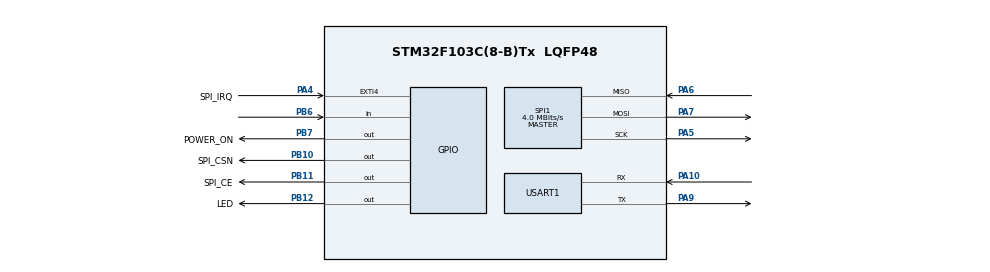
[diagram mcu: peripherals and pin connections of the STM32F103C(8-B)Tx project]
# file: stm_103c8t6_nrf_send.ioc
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Mcu.Family=STM32F1
Mcu.Name=STM32F103C(8-B)Tx
Mcu.Package=LQFP48
NVIC.PriorityGroup=NVIC_PRIORITYGROUP_4
NVIC.SPI1_IRQn=true\:0\:0\:false\:false\:true\:true\:true
NVIC.USART1_IRQn=true\:0\:0\:false\:false\:true\:true\:true
PA10.Mode=Asynchronous
PA10.Signal=USART1_RX
PA13.Mode=Serial_Wire
PA13.Signal=SYS_JTMS-SWDIO
PA14.Mode=Serial_Wire
PA14.Signal=SYS_JTCK-SWCLK
PA4.GPIO_Label=SPI_IRQ
PA4.GPIO_PuPd=GPIO_PULLUP
PA4.Signal=GPXTI4
PA5.Mode=Full_Duplex_Master
PA5.Signal=SPI1_SCK
PA6.Mode=Full_Duplex_Master
PA6.Signal=SPI1_MISO
PA7.Mode=Full_Duplex_Master
PA7.Signal=SPI1_MOSI
PA9.Mode=Asynchronous
PA9.Signal=USART1_TX
PB10.GPIO_Label=SPI_CSN
PB10.Signal=GPIO_Output
PB11.GPIO_Label=SPI_CE
PB11.Signal=GPIO_Output
PB12.GPIO_Label=LED
PB12.Signal=GPIO_Output
PB6.Signal=GPIO_Input
PB7.GPIO_Label=POWER_ON
PB7.Signal=GPIO_Output
ProjectManager.HeapSize=0x200
ProjectManager.StackSize=0x400
ProjectManager.TargetToolchain=STM32CubeIDE
RCC.APB1Freq_Value=8000000
RCC.APB2Freq_Value=8000000
SPI1.BaudRatePrescaler=SPI_BAUDRATEPRESCALER_2
SPI1.CLKPolarity=SPI_POLARITY_LOW
SPI1.CalculateBaudRate=4.0 MBits/s
SPI1.Direction=SPI_DIRECTION_2LINES
SPI1.Mode=SPI_MODE_MASTER
SPI1.VirtualType=VM_MASTER
USART1.VirtualMode=VM_ASYNC
board=custom

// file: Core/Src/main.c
/* USER CODE BEGIN Header */
/**
  ******************************************************************************
  * @file           : main.c
  * @brief          : Main program body
  ******************************************************************************
  * @attention
  *
  * <h2><center>&copy; Copyright (c) 2020 STMicroelectronics.
  * All rights reserved.</center></h2>
  *
  * This software component is licensed by ST under BSD 3-Clause license,
  * the "License"; You may not use this file except in compliance with the
  * License. You may obtain a copy of the License at:
  *                        opensource.org/licenses/BSD-3-Clause
  *
  ******************************************************************************
  */
/* USER CODE END Header */

#include "main.h"

/* USER CODE BEGIN Includes */
#include <stdio.h>
#include <string.h>
/* USER CODE END Includes */

SPI_HandleTypeDef hspi1;

UART_HandleTypeDef huart1;

void SystemClock_Config(void);
static void MX_GPIO_Init(void);
static void MX_SPI1_Init(void);
static void MX_USART1_UART_Init(void);

/* USER CODE BEGIN 0 */

// Global Variables for Serial USART1 Receive
unsigned char   	uRx_Data[RECV_MAX] 	;
unsigned char * 	pRx_Data			;
unsigned int 		uLength				;
// unsigned int		recv_flag			;

// Override this function in order to printf via USART1
int __io_putchar(int ch) {
	HAL_UART_Transmit(&huart1, (uint8_t*)&ch, 1, HAL_MAX_DELAY);
	return ch;
}

void dealWithRxBuffer(){
	// When USART1 received something(stored in uRx_Data), interrupt will call this function.
	// for example, you can output what you received via USART1, which will be shown on you computer.
}

uint8_t msg[] = "NRF Hello! - STM32.\n";

/* USER CODE END 0 */

int main(void)
{

  /* MCU Configuration--------------------------------------------------------*/

  /* Reset of all peripherals, Initializes the Flash interface and the Systick. */
  HAL_Init();

  /* Configure the system clock */
  SystemClock_Config();

  /* Initialize all configured peripherals */
  MX_GPIO_Init();
  MX_SPI1_Init();
  MX_USART1_UART_Init();
  /* USER CODE BEGIN 2 */
  NRF24L01_Init();
  printf("Setup!\n");
  printf("NRF24L01 2.4G Test Begin\n");

  while (NRF24L01_Check()) {
	  printf("NRF24L01 Module not detected\n");
	  HAL_Delay(1000);
  }
  printf("NRF24L01 Module Start Work\n");
  NRF24L01_TX_Mode();
  printf("Send Data Mode: \n");

  /* USER CODE END 2 */

  /* Infinite loop */
  while (1)
  {

    /* USER CODE BEGIN 3 */
	  // HAL_GPIO_TogglePin(GPIOB, GPIO_PIN_12);

	  printf("Ready to send\n");
	  uint8_t send_flg = NRF24L01_TxPacket(msg);
	  if (send_flg == TX_OK) {
		  printf("Successful sent : %s\n", msg);
		  for (int i = 1; i <= 5; i++) {
			  HAL_GPIO_WritePin(GPIOB, GPIO_PIN_12, GPIO_PIN_RESET);
			  HAL_Delay(50);
			  HAL_GPIO_WritePin(GPIOB, GPIO_PIN_12, GPIO_PIN_SET);
			  HAL_Delay(50);
		  }
	  }
	  else {
		  printf("Send Failed>_< return code: %#x\n", send_flg);
		  HAL_GPIO_TogglePin(GPIOB, GPIO_PIN_12);
		  // HAL_Delay(1000);
	  }
	  HAL_Delay(1000);
  }
  /* USER CODE END 3 */
}

void SystemClock_Config(void)
{
  RCC_OscInitTypeDef RCC_OscInitStruct = {0};
  RCC_ClkInitTypeDef RCC_ClkInitStruct = {0};

  /** Initializes the CPU, AHB and APB busses clocks
  */
  RCC_OscInitStruct.OscillatorType = RCC_OSCILLATORTYPE_HSI;
  RCC_OscInitStruct.HSIState = RCC_HSI_ON;
  RCC_OscInitStruct.HSICalibrationValue = RCC_HSICALIBRATION_DEFAULT;
  RCC_OscInitStruct.PLL.PLLState = RCC_PLL_NONE;
  if (HAL_RCC_OscConfig(&RCC_OscInitStruct) != HAL_OK)
  {
    Error_Handler();
  }
  /** Initializes the CPU, AHB and APB busses clocks
  */
  RCC_ClkInitStruct.ClockType = RCC_CLOCKTYPE_HCLK|RCC_CLOCKTYPE_SYSCLK
                              |RCC_CLOCKTYPE_PCLK1|RCC_CLOCKTYPE_PCLK2;
  RCC_ClkInitStruct.SYSCLKSource = RCC_SYSCLKSOURCE_HSI;
  RCC_ClkInitStruct.AHBCLKDivider = RCC_SYSCLK_DIV1;
  RCC_ClkInitStruct.APB1CLKDivider = RCC_HCLK_DIV1;
  RCC_ClkInitStruct.APB2CLKDivider = RCC_HCLK_DIV1;

  if (HAL_RCC_ClockConfig(&RCC_ClkInitStruct, FLASH_LATENCY_0) != HAL_OK)
  {
    Error_Handler();
  }
}

static void MX_SPI1_Init(void)
{

  /* SPI1 parameter configuration*/
  hspi1.Instance = SPI1;
  hspi1.Init.Mode = SPI_MODE_MASTER;
  hspi1.Init.Direction = SPI_DIRECTION_2LINES;
  hspi1.Init.DataSize = SPI_DATASIZE_8BIT;
  hspi1.Init.CLKPolarity = SPI_POLARITY_LOW;
  hspi1.Init.CLKPhase = SPI_PHASE_1EDGE;
  hspi1.Init.NSS = SPI_NSS_SOFT;
  hspi1.Init.BaudRatePrescaler = SPI_BAUDRATEPRESCALER_2;
  hspi1.Init.FirstBit = SPI_FIRSTBIT_MSB;
  hspi1.Init.TIMode = SPI_TIMODE_DISABLE;
  hspi1.Init.CRCCalculation = SPI_CRCCALCULATION_DISABLE;
  hspi1.Init.CRCPolynomial = 10;
  if (HAL_SPI_Init(&hspi1) != HAL_OK)
  {
    Error_Handler();
  }

}

static void MX_USART1_UART_Init(void)
{

  huart1.Instance = USART1;
  huart1.Init.BaudRate = 115200;
  huart1.Init.WordLength = UART_WORDLENGTH_8B;
  huart1.Init.StopBits = UART_STOPBITS_1;
  huart1.Init.Parity = UART_PARITY_NONE;
  huart1.Init.Mode = UART_MODE_TX_RX;
  huart1.Init.HwFlowCtl = UART_HWCONTROL_NONE;
  huart1.Init.OverSampling = UART_OVERSAMPLING_16;
  if (HAL_UART_Init(&huart1) != HAL_OK)
  {
    Error_Handler();
  }

}

static void MX_GPIO_Init(void)
{
  GPIO_InitTypeDef GPIO_InitStruct = {0};

  /* GPIO Ports Clock Enable */
  __HAL_RCC_GPIOA_CLK_ENABLE();
  __HAL_RCC_GPIOB_CLK_ENABLE();

  /*Configure GPIO pin Output Level */
  HAL_GPIO_WritePin(GPIOB, SPI_CSN_Pin|SPI_CE_Pin|LED_Pin, GPIO_PIN_RESET);

  /*Configure GPIO pin : SPI_IRQ_Pin */
  GPIO_InitStruct.Pin = SPI_IRQ_Pin;
  GPIO_InitStruct.Mode = GPIO_MODE_IT_RISING;
  GPIO_InitStruct.Pull = GPIO_PULLUP;
  HAL_GPIO_Init(SPI_IRQ_GPIO_Port, &GPIO_InitStruct);

  /*Configure GPIO pins : SPI_CSN_Pin SPI_CE_Pin LED_Pin */
  GPIO_InitStruct.Pin = SPI_CSN_Pin|SPI_CE_Pin|LED_Pin;
  GPIO_InitStruct.Mode = GPIO_MODE_OUTPUT_PP;
  GPIO_InitStruct.Pull = GPIO_NOPULL;
  GPIO_InitStruct.Speed = GPIO_SPEED_FREQ_LOW;
  HAL_GPIO_Init(GPIOB, &GPIO_InitStruct);

}

void Error_Handler(void)
{
}

/************************ (C) COPYRIGHT STMicroelectronics *****END OF FILE****/
